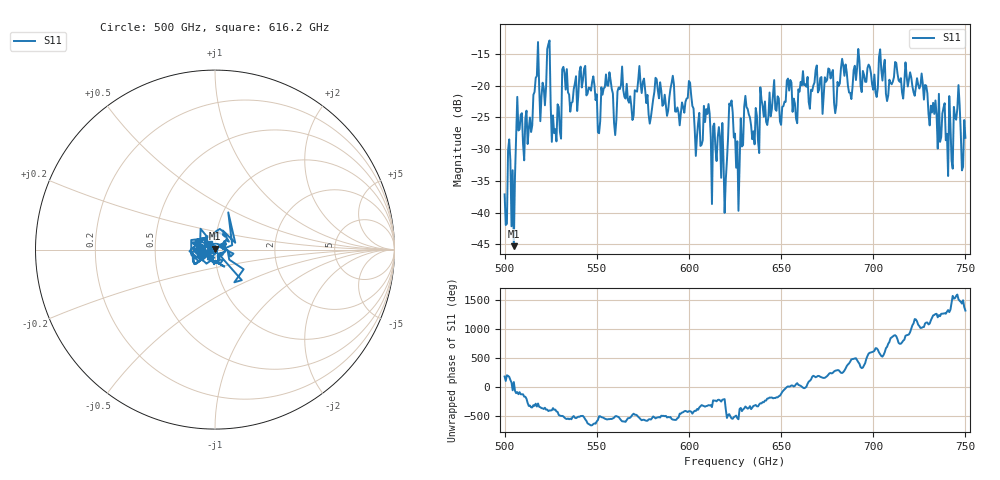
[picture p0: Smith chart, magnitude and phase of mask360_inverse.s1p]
!Created with skrf (http://scikit-rf.org).
# GHz S MA R 50.0
!freq magS11 angS11
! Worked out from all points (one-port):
!   401 points, 500 GHz to 750 GHz, reference 50 ohm
!   lowest |S11| = -45.3 dB at 505 GHz (marker M1), VSWR 1.01, Z = 50.1 + j0.538 ohm
!   |S11| at or under -10 dB: start of sweep to end of sweep
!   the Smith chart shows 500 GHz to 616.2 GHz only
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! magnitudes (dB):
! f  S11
! 500 GHz  -37.1
! 503.1 GHz  -31.8
! 505 GHz  -45.3
! 507.5 GHz  -27.1
! 513.8 GHz  -25.0
! 516.9 GHz  -18.8
! 520.6 GHz  -19.5
! 523.8 GHz  -13.5
! 526.9 GHz  -27.5
! 531.2 GHz  -17.5
! 542.5 GHz  -19.1
! 550.6 GHz  -27.4
! 562.5 GHz  -20.6
! 593.8 GHz  -23.4
! 609.4 GHz  -23.7
! 618.8 GHz  -31.7
! 622.5 GHz  -23.2
! 625 GHz  -27.6
! 626.2 GHz  -28.8
! 631.2 GHz  -23.4
! 636.9 GHz  -24.7
! 656.2 GHz  -24.1
! 676.9 GHz  -18.9
! 680 GHz  -23.1
! 683.8 GHz  -16.9
! 687.5 GHz  -21.1
! 718.8 GHz  -20.1
! 750 GHz  -28.2
